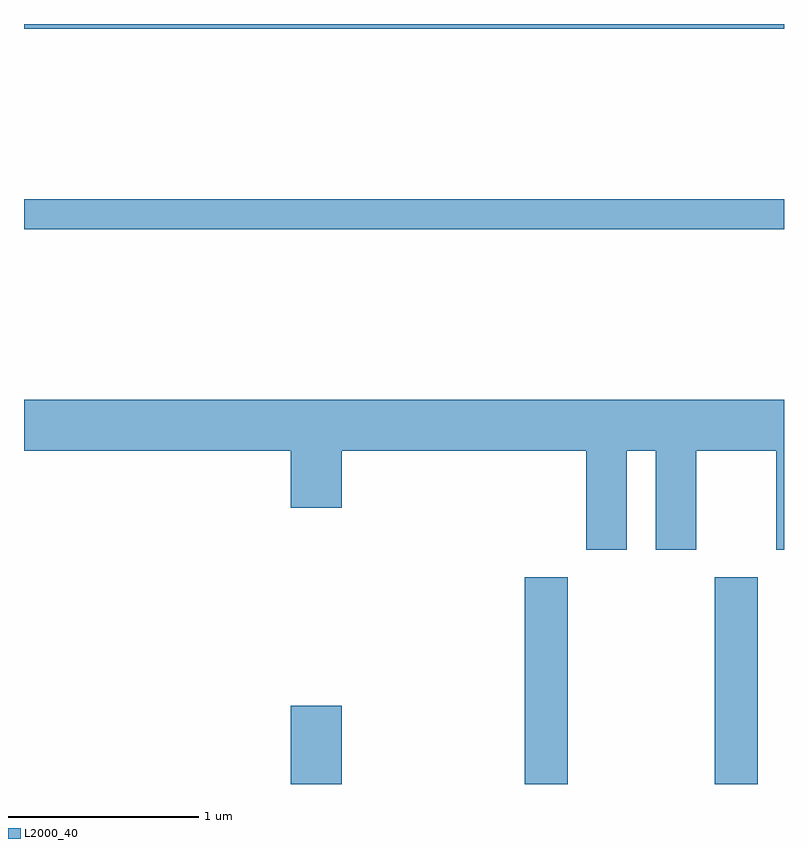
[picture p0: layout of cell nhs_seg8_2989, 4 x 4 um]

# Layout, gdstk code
import gdstk
lib = gdstk.Library(unit=1e-6, precision=1e-09)
def R(c, l, rs):  # rectangles x0, y0, x1, y1
    for r in rs: c.add(gdstk.rectangle(r[:2], r[2:], *l))
def P(c, l, *ps):  # polygons
    for p in ps: c.add(gdstk.Polygon(p, *l))
L2000_40 = (2000, 40)

nhs_seg8_2989 = lib.new_cell('nhs_seg8_2989')
R(nhs_seg8_2989, L2000_40, [(275.016,1932.342,275.284,1932.754), (276.246,1932.342,276.474,1933.429), (277.246,1932.342,277.474,1933.429), (273.611,1935.261,277.611,1935.419), (273.611,1936.316,277.611,1936.342)])
P(nhs_seg8_2989, L2000_40, [(276.784,1934.096),(276.936,1934.096),(276.936,1933.576),(277.149,1933.576),(277.149,1934.096),(277.571,1934.096),(277.571,1933.576),(277.611,1933.576),(277.611,1934.364),(273.611,1934.364),(273.611,1934.096),(275.016,1934.096),(275.016,1933.796),(275.284,1933.796),(275.284,1934.096),(276.571,1934.096),(276.571,1933.576),(276.784,1933.576)])

lib.write_gds('nhs_seg8_2989.gds')
